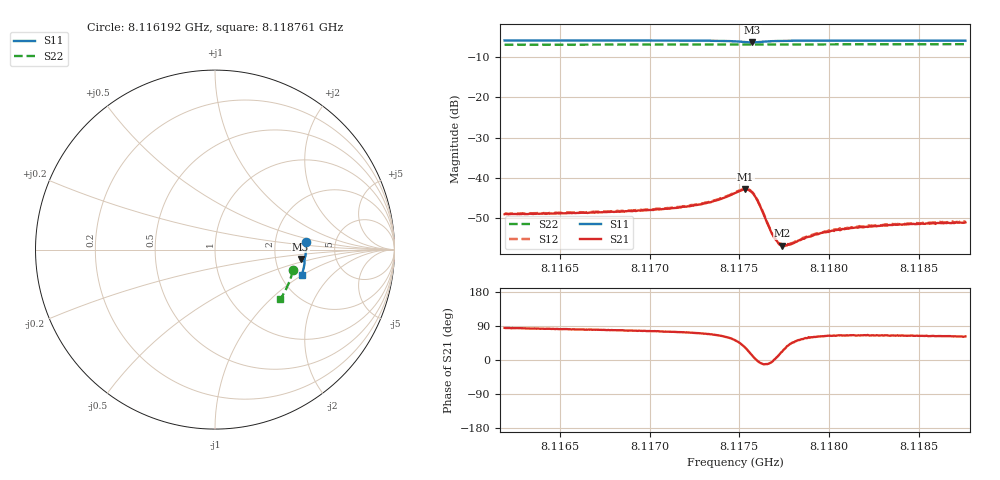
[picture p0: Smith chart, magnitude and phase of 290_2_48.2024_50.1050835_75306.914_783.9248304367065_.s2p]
#  HZ  S  RI  R  50.00
! Rohde & Schwarz Vector Network Analyzer
! Rohde-Schwarz,ZNB20-2Port,1311601062101988,3.16
! Created: UTC 3/20/2024, 11:49:02 AM
! freq[Hz]  re:S11  im:S11  re:S21  im:S21  re:S12  im:S12  re:S22  im:S22
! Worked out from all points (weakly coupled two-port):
!   401 points, 8.116192 GHz to 8.118761 GHz, reference 50 ohm
!   highest |S21| = -42.89 dB at 8.117534 GHz (marker M1); lowest = -56.9 dB at 8.11774 GHz (marker M2)
!   lowest |S11| = -6.4 dB at 8.117573 GHz (marker M3), VSWR 2.84, Z = 139 - j18.9 ohm
!   |S11| at or under -10 dB: nowhere
!   |S22| runs from -7.0 to -6.8 dB; largest |S21 - S12| = 0.00019
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8.1161919e9  0.5052 0.0439  0.000324 0.00352  0.000366 0.00359  0.4341 -0.1147
8.1166222e9  0.5065 0.0115  0.000608 0.00364  0.000677 0.00368  0.4266 -0.1436
8.1168662e9  0.506 -0.00731  0.000822 0.00377  0.000856 0.00377  0.4215 -0.1597
8.1170524e9  0.5051 -0.0222  0.001 0.00391  0.00105 0.00398  0.4173 -0.172
8.117168e9  0.504 -0.0316  0.00121 0.00412  0.00131 0.00416  0.4143 -0.1796
8.11729e9  0.502 -0.0423  0.0016 0.00441  0.00168 0.00451  0.4113 -0.1874
8.1173735e9  0.4995 -0.0505  0.00216 0.0048  0.00223 0.00487  0.4088 -0.193
8.1174762e9  0.4909 -0.0609  0.00396 0.00511  0.00411 0.00515  0.4055 -0.1996
8.117534e9  0.48 -0.0606  0.00606 0.00384  0.0062 0.00385  0.4035 -0.2031
8.1175533e9  0.477 -0.057  0.00651 0.0027  0.00665 0.00265  0.4029 -0.204
8.1175726e9  0.4765 -0.0523  0.0064 0.00133  0.00654 0.00126  0.4023 -0.2049
8.1176047e9  0.4813 -0.046  0.00503 -0.000317  0.0051 -0.000403  0.4018 -0.2065
8.1176881e9  0.495 -0.0513  0.00193 -8.1e-05  0.00195 -0.000104  0.4 -0.2119
8.1177138e9  0.4967 -0.0544  0.00157 0.000253  0.00162 0.000264  0.3992 -0.2137
8.1177395e9  0.4978 -0.0574  0.00133 0.000548  0.00134 0.000577  0.3984 -0.2154
8.1177652e9  0.4985 -0.0604  0.00117 0.000846  0.00122 0.000857  0.3977 -0.2171
8.1177909e9  0.4988 -0.0633  0.00108 0.00104  0.00112 0.00107  0.3969 -0.2187
8.1179065e9  0.4986 -0.0743  0.000954 0.00165  0.000994 0.0017  0.3932 -0.226
8.1179707e9  0.4981 -0.08  0.00097 0.00186  0.000978 0.00189  0.3911 -0.2301
8.1180863e9  0.4967 -0.0896  0.000984 0.00208  0.00102 0.00215  0.3872 -0.2371
8.1183367e9  0.4928 -0.1089  0.00113 0.00233  0.00114 0.00238  0.3785 -0.2525
8.1187605e9  0.4846 -0.14  0.0013 0.00247  0.00133 0.00254  0.3621 -0.2772
